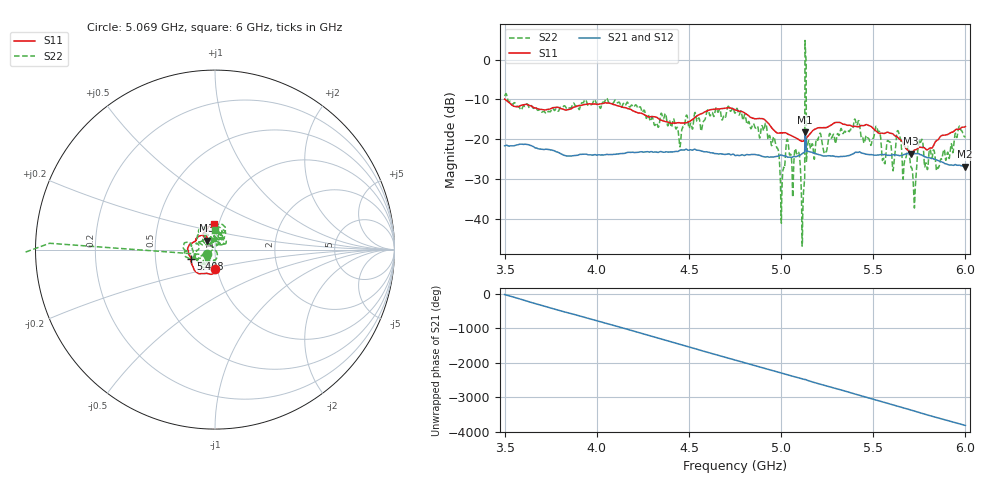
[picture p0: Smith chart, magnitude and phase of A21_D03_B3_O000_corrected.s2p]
! Created with skrf 1.9.0 (http://scikit-rf.org).
# Hz S RI R 50.0
!freq ReS11 ImS11 ReS21 ImS21 ReS12 ImS12 ReS22 ImS22
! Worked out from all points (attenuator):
!   1601 points, 3.5 GHz to 6 GHz, reference 50 ohm
!   highest |S21| = -18.21 dB at 5.13 GHz (marker M1); lowest = -26.8 dB at 5.997 GHz (marker M2)
!   lowest |S11| = -23.6 dB at 5.703 GHz (marker M3), VSWR 1.14, Z = 45.5 + j4.5 ohm
!   |S11| at or under -10 dB: 3.502 GHz to end of sweep
!   |S22| runs from -46.8 to 4.8 dB; largest |S21 - S12| = 0.00099
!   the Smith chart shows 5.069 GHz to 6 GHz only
!   S11 on the Smith chart (normalised r, x): 5.069 GHz: 0.98, -0.21; 5.408 GHz: 0.76, -0.08; 6 GHz: 0.95, +0.28
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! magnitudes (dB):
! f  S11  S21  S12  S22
! 3.5 GHz  -9.9  -21.6  -21.6  -9.2
! 3.917 GHz  -11.5  -23.8  -23.8  -10.9
! 4.334 GHz  -14.8  -23.3  -23.2  -17.0
! 4.75 GHz  -12.6  -24.1  -24.0  -13.5
! 4.967 GHz  -18.0  -24.4  -24.3  -20.5
! 5.005 GHz  -18.4  -24.0  -24.0  -32.4
! 5.034 GHz  -18.6  -24.5  -24.4  -20.0
! 5.069 GHz  -19.4  -24.3  -24.3  -26.2
! 5.091 GHz  -19.9  -24.2  -24.2  -23.1
! 5.116 GHz  -20.5  -23.6  -23.5  -46.0
! 5.13 GHz  -19.9  -18.2  -18.2  4.8
! 5.142 GHz  -19.4  -23.0  -22.9  -22.2
! 5.167 GHz  -18.0  -23.3  -23.2  -21.2
! 5.408 GHz  -16.8  -23.2  -23.2  -16.0
! 5.558 GHz  -18.5  -23.8  -23.8  -25.0
! 5.584 GHz  -18.3  -24.0  -24.0  -20.5
! 5.703 GHz  -23.6  -23.6  -23.6  -26.6
! 5.723 GHz  -22.7  -23.6  -23.5  -37.3
! 5.756 GHz  -22.0  -23.9  -23.8  -20.8
! 5.852 GHz  -20.1  -25.4  -25.3  -27.2
! 5.997 GHz  -16.9  -26.8  -26.8  -19.4
! 6 GHz  -16.8  -26.8  -26.8  -19.3
